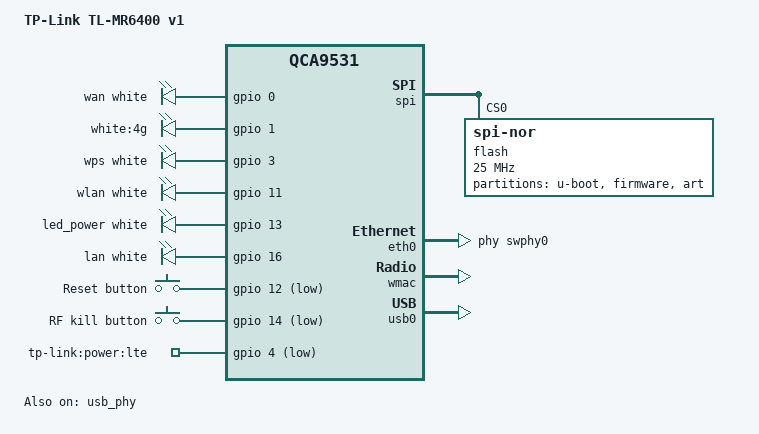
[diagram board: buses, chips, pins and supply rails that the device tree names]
// SPDX-License-Identifier: GPL-2.0-or-later

#include "qca953x.dtsi"

#include <dt-bindings/gpio/gpio.h>
#include <dt-bindings/input/input.h>
#include <dt-bindings/leds/common.h>

/ {
	compatible = "tplink,tl-mr6400-v1", "qca,qca9531";
	model = "TP-Link TL-MR6400 v1";

	aliases {
		led-boot = &led_power;
		led-failsafe = &led_power;
		led-running = &led_power;
		led-upgrade = &led_power;
		label-mac-device = &wmac;
	};

	leds {
		compatible = "gpio-leds";

		/* D12 */
		wan {
			function = LED_FUNCTION_WAN;
			color = <LED_COLOR_ID_WHITE>;
			gpios = <&gpio 0 GPIO_ACTIVE_HIGH>;
		};

		/* D11 */
		4g {
			label = "white:4g";
			gpios = <&gpio 1 GPIO_ACTIVE_HIGH>;
		};

		/* D5 */
		wps {
			function = LED_FUNCTION_WPS;
			color = <LED_COLOR_ID_WHITE>;
			gpios = <&gpio 3 GPIO_ACTIVE_HIGH>;
		};

		/* D3 */
		wlan {
			function = LED_FUNCTION_WLAN;
			color = <LED_COLOR_ID_WHITE>;
			gpios = <&gpio 11 GPIO_ACTIVE_HIGH>;
			linux,default-trigger = "phy0tpt";
		};

		/* D2 */
		led_power: power {
			function = LED_FUNCTION_POWER;
			color = <LED_COLOR_ID_WHITE>;
			gpios = <&gpio 13 GPIO_ACTIVE_HIGH>;
		};

		/* D4 */
		lan {
			function = LED_FUNCTION_LAN;
			color = <LED_COLOR_ID_WHITE>;
			gpios = <&gpio 16 GPIO_ACTIVE_HIGH>;
		};
	};

	keys {
		compatible = "gpio-keys";

		/* SW2 */
		reset {
			label = "Reset button";
			linux,code = <KEY_RESTART>;
			gpios = <&gpio 12 GPIO_ACTIVE_LOW>;
			debounce-interval = <60>;
		};

		/* SW3 */
		rfkill {
			label = "RF kill button";
			linux,code = <KEY_RFKILL>;
			gpios = <&gpio 14 GPIO_ACTIVE_LOW>;
			debounce-interval = <60>;
		};
	};

	gpio-export {
		compatible = "gpio-export";

		gpio_usb_power {
			gpio-export,name = "tp-link:power:lte";
			gpio-export,output = <0>;
			gpios = <&gpio 4 GPIO_ACTIVE_LOW>;
		};
	};
};

&spi {
	status = "okay";

	flash@0 {
		compatible = "jedec,spi-nor";
		reg = <0>;
		spi-max-frequency = <25000000>;

		partitions {
			compatible = "fixed-partitions";
			#address-cells = <1>;
			#size-cells = <1>;

			uboot: partition@0 {
				label = "u-boot";
				reg = <0x000000 0x020000>;
				read-only;

				nvmem-layout {
					compatible = "fixed-layout";
					#address-cells = <1>;
					#size-cells = <1>;

					macaddr_uboot_1fc00: macaddr@1fc00 {
						compatible = "mac-base";
						reg = <0x1fc00 0x6>;
						#nvmem-cell-cells = <1>;
					};
				};
			};

			partition@20000 {
				compatible = "tplink,firmware";
				label = "firmware";
				reg = <0x020000 0x7d0000>;
			};

			art: partition@7f0000 {
				label = "art";
				reg = <0x7f0000 0x010000>;
				read-only;
			};
		};
	};
};

&eth0 {
	status = "okay";

	phy-handle = <&swphy0>;

	nvmem-cells = <&macaddr_uboot_1fc00 1>;
	nvmem-cell-names = "mac-address";
};

&eth1 {
	nvmem-cells = <&macaddr_uboot_1fc00 (-1)>;
	nvmem-cell-names = "mac-address";
};

&wmac {
	status = "okay";

	mtd-cal-data = <&art 0x1000>;
	nvmem-cells = <&macaddr_uboot_1fc00 0>;
	nvmem-cell-names = "mac-address";
};

&usb0 {
	status = "okay";
};

&usb_phy {
	status = "okay";
};
